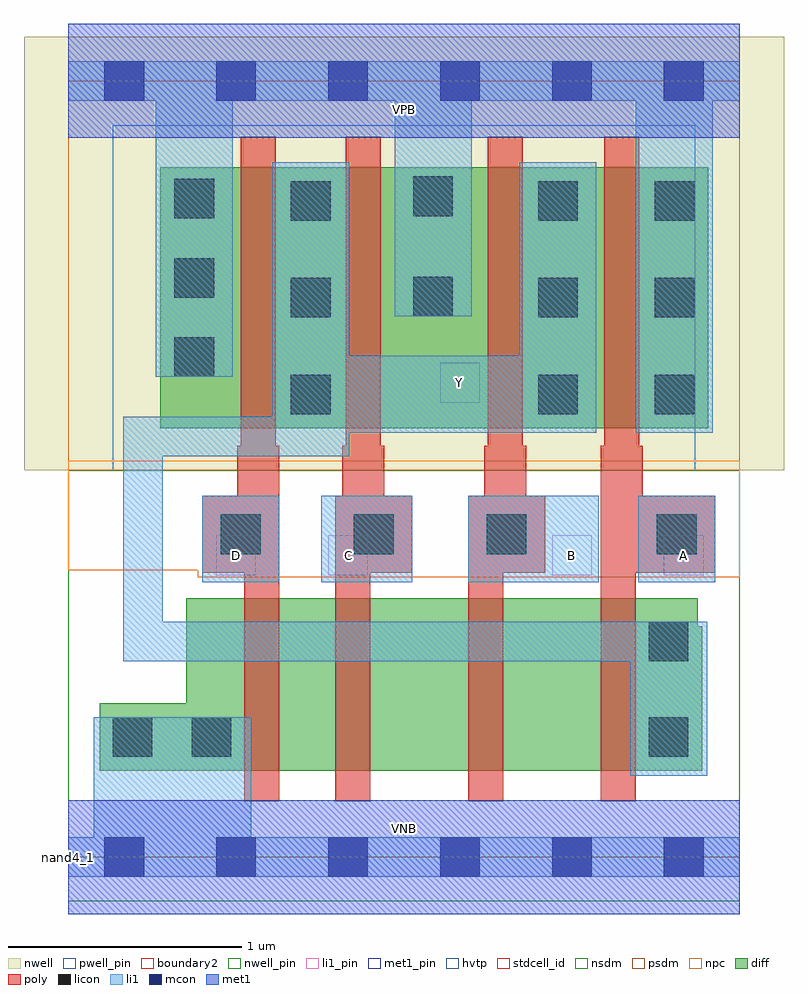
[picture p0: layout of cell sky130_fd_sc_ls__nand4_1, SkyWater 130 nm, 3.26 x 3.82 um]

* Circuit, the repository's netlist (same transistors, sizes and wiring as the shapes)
* Copyright 2020 The SkyWater PDK Authors
*
* Licensed under the Apache License, Version 2.0 (the "License");
* you may not use this file except in compliance with the License.
* You may obtain a copy of the License at
*
*     https://www.apache.org/licenses/LICENSE-2.0
*
* Unless required by applicable law or agreed to in writing, software
* distributed under the License is distributed on an "AS IS" BASIS,
* WITHOUT WARRANTIES OR CONDITIONS OF ANY KIND, either express or implied.
* See the License for the specific language governing permissions and
* limitations under the License.
*
* SPDX-License-Identifier: Apache-2.0

.SUBCKT sky130_fd_sc_ls__nand4_1 A B C D VGND VNB VPB VPWR Y
*.PININFO A:I B:I C:I D:I VGND:I VNB:I VPB:I VPWR:I Y:O
MMP0 Y A VPWR VPB sky130_fd_pr__pfet_01v8_hvt m=1 w=1.12U l=0.15U mult=1 sa=0.265
+ sb=0.265 sd=0.28 area=0.063 perim=1.14
MMP1 Y B VPWR VPB sky130_fd_pr__pfet_01v8_hvt m=1 w=1.12U l=0.15U mult=1 sa=0.265
+ sb=0.265 sd=0.28 area=0.063 perim=1.14
MMP3 Y D VPWR VPB sky130_fd_pr__pfet_01v8_hvt m=1 w=1.12U l=0.15U mult=1 sa=0.265
+ sb=0.265 sd=0.28 area=0.063 perim=1.14
MMP2 Y C VPWR VPB sky130_fd_pr__pfet_01v8_hvt m=1 w=1.12U l=0.15U mult=1 sa=0.265
+ sb=0.265 sd=0.28 area=0.063 perim=1.14
MMN0 Y A sndA VNB sky130_fd_pr__nfet_01v8 m=1 w=0.74U l=0.15U mult=1 sa=0.265 sb=0.265
+ sd=0.28 area=0.063 perim=1.14
MMN1 sndA B sndB VNB sky130_fd_pr__nfet_01v8 m=1 w=0.74U l=0.15U mult=1 sa=0.265
+ sb=0.265 sd=0.28 area=0.063 perim=1.14
MMN2 sndB C sndC VNB sky130_fd_pr__nfet_01v8 m=1 w=0.74U l=0.15U mult=1 sa=0.265
+ sb=0.265 sd=0.28 area=0.063 perim=1.14
MMN3 sndC D VGND VNB sky130_fd_pr__nfet_01v8 m=1 w=0.74U l=0.15U mult=1 sa=0.265
+ sb=0.265 sd=0.28 area=0.063 perim=1.14
.ENDS sky130_fd_sc_ls__nand4_1

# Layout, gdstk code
import gdstk
lib = gdstk.Library(unit=1e-6, precision=1e-09)
def R(c, l, rs):  # rectangles x0, y0, x1, y1
    for r in rs: c.add(gdstk.rectangle(r[:2], r[2:], *l))
def A(c, l, x, y, w, h, nx, ny, dx, dy):  # array of equal rectangles
    R(c, l, [(x+i*dx, y+j*dy, x+i*dx+w, y+j*dy+h) for i in range(nx) for j in range(ny)])
def P(c, l, *ps):  # polygons
    for p in ps: c.add(gdstk.Polygon(p, *l))
nwell_pin = (64, 16)
nwell = (64, 20)
diff = (65, 20)
poly = (66, 20)
licon = (66, 44)
li1_pin = (67, 16)
li1 = (67, 20)
mcon = (67, 44)
met1_pin = (68, 16)
met1 = (68, 20)
hvtp = (78, 44)
stdcell_id = (81, 4)
nsdm = (93, 44)
psdm = (94, 20)
npc = (95, 20)
pwell_pin = (122, 16)
boundary2 = (236, 0)

sky130_fd_sc_ls__nand4_1 = lib.new_cell('sky130_fd_sc_ls__nand4_1')
R(sky130_fd_sc_ls__nand4_1, nwell_pin, [(0,3.085,2.88,3.33)])
R(sky130_fd_sc_ls__nand4_1, nwell, [(-0.19,1.66,3.07,3.52)])
R(sky130_fd_sc_ls__nand4_1, diff, [(0.395,1.84,2.745,2.96)])
P(sky130_fd_sc_ls__nand4_1, diff, [(2.72,0.99),(2.7,0.99),(2.7,1.11),(0.505,1.11),(0.505,0.66),(0.135,0.66),(0.135,0.37),(2.72,0.37)])
P(sky130_fd_sc_ls__nand4_1, poly, [(2.775,1.55),(2.465,1.55),(2.465,1.765),(2.45,1.765),(2.45,3.09),(2.3,3.09),(2.3,1.765),(2.285,1.765),(2.285,0.24),(2.435,0.24),(2.435,1.22),(2.775,1.22)],
  [(2.045,1.55),(1.965,1.55),(1.965,1.765),(1.95,1.765),(1.95,3.09),(1.8,3.09),(1.8,1.765),(1.785,1.765),(1.785,1.55),(1.715,1.55),(1.715,0.24),(1.865,0.24),(1.865,1.22),(2.045,1.22)],
  [(1.475,1.55),(1.355,1.55),(1.355,1.765),(1.34,1.765),(1.34,3.09),(1.19,3.09),(1.19,1.765),(1.175,1.765),(1.175,1.55),(1.145,1.55),(1.145,0.24),(1.295,0.24),(1.295,1.22),(1.475,1.22)],
  [(0.905,1.765),(0.89,1.765),(0.89,3.09),(0.74,3.09),(0.74,1.765),(0.725,1.765),(0.725,1.55),(0.575,1.55),(0.575,1.22),(0.755,1.22),(0.755,0.24),(0.905,0.24)])
A(sky130_fd_sc_ls__nand4_1, licon, 0.655, 1.3, 0.17, 0.17, 3, 1, 0.57, 0)
A(sky130_fd_sc_ls__nand4_1, licon, 0.955, 1.9, 0.17, 0.17, 1, 3, 0, 0.415)
A(sky130_fd_sc_ls__nand4_1, licon, 2.015, 1.9, 0.17, 0.17, 1, 3, 0, 0.415)
A(sky130_fd_sc_ls__nand4_1, licon, 2.515, 1.9, 0.17, 0.17, 1, 3, 0, 0.415)
A(sky130_fd_sc_ls__nand4_1, licon, 0.455, 2.06, 0.17, 0.17, 1, 3, 0, 0.34)
R(sky130_fd_sc_ls__nand4_1, licon, [(0.19,0.43,0.36,0.6), (0.53,0.43,0.7,0.6), (2.49,0.43,2.66,0.6), (2.49,0.84,2.66,1.01), (2.525,1.3,2.695,1.47), (1.48,2.32,1.65,2.49), (1.48,2.75,1.65,2.92)])
R(sky130_fd_sc_ls__nand4_1, li1_pin, [(0.635,1.21,0.805,1.38), (1.115,1.21,1.285,1.38), (2.075,1.21,2.245,1.38), (2.555,1.21,2.725,1.38), (1.595,1.95,1.765,2.12)])
R(sky130_fd_sc_ls__nand4_1, li1, [(0.575,1.18,0.905,1.55), (1.085,1.18,1.475,1.55), (1.715,1.18,2.275,1.55), (2.445,1.18,2.775,1.55)])
P(sky130_fd_sc_ls__nand4_1, li1, [(2.435,1.82),(2.435,3.245),(1.73,3.245),(1.73,2.32),(1.4,2.32),(1.4,3.245),(0.705,3.245),(0.705,2.06),(0.375,2.06),(0.375,3.245),(0,3.245),(0,3.415),(2.88,3.415),(2.88,3.245),(2.765,3.245),(2.765,1.82)],
  [(0.11,0.085),(0.11,0.6),(0.785,0.6),(0.785,0.085),(2.88,0.085),(2.88,-0.085),(0,-0.085),(0,0.085)],
  [(1.935,2.15),(1.935,2.98),(2.265,2.98),(2.265,1.82),(1.205,1.82),(1.205,1.72),(0.405,1.72),(0.405,1.01),(2.74,1.01),(2.74,0.35),(2.41,0.35),(2.41,0.84),(0.235,0.84),(0.235,1.89),(0.875,1.89),(0.875,2.98),(1.205,2.98),(1.205,2.15)])
A(sky130_fd_sc_ls__nand4_1, mcon, 0.155, -0.085, 0.17, 0.17, 6, 2, 0.48, 3.33)
R(sky130_fd_sc_ls__nand4_1, met1_pin, [(0,0,2.88,0.245), (0,3.085,2.88,3.33)])
R(sky130_fd_sc_ls__nand4_1, met1, [(0,-0.245,2.88,0.245), (0,3.085,2.88,3.575)])
R(sky130_fd_sc_ls__nand4_1, hvtp, [(0.19,1.66,2.69,3.14)])
R(sky130_fd_sc_ls__nand4_1, stdcell_id, [(0,0,2.88,3.33)])
R(sky130_fd_sc_ls__nand4_1, nsdm, [(0,-0.19,2.88,1.66)])
R(sky130_fd_sc_ls__nand4_1, psdm, [(0,1.66,2.88,3.52)])
P(sky130_fd_sc_ls__nand4_1, npc, [(2.88,1.7),(0,1.7),(0,1.23),(0.555,1.23),(0.555,1.2),(2.88,1.2)])
R(sky130_fd_sc_ls__nand4_1, pwell_pin, [(0,0,2.88,0.245)])
R(sky130_fd_sc_ls__nand4_1, boundary2, [(0,0,2.88,3.33)])
sky130_fd_sc_ls__nand4_1.add(gdstk.Label('nand4_1', (0,0), layer=83, texttype=44))
sky130_fd_sc_ls__nand4_1.add(gdstk.Label('VNB', (1.44,0.123), layer=64, texttype=59))
sky130_fd_sc_ls__nand4_1.add(gdstk.Label('VPB', (1.44,3.208), layer=64, texttype=5))
sky130_fd_sc_ls__nand4_1.add(gdstk.Label('VPWR', (1.44,3.208), layer=68, texttype=5))
sky130_fd_sc_ls__nand4_1.add(gdstk.Label('VGND', (1.44,0.123), layer=68, texttype=5))
sky130_fd_sc_ls__nand4_1.add(gdstk.Label('C', (1.2,1.295), layer=67, texttype=5))
sky130_fd_sc_ls__nand4_1.add(gdstk.Label('Y', (1.68,2.035), layer=67, texttype=5))
sky130_fd_sc_ls__nand4_1.add(gdstk.Label('D', (0.72,1.295), layer=67, texttype=5))
sky130_fd_sc_ls__nand4_1.add(gdstk.Label('B', (2.16,1.295), layer=67, texttype=5))
sky130_fd_sc_ls__nand4_1.add(gdstk.Label('A', (2.64,1.295), layer=67, texttype=5))

lib.write_gds('sky130_fd_sc_ls__nand4_1.gds')
